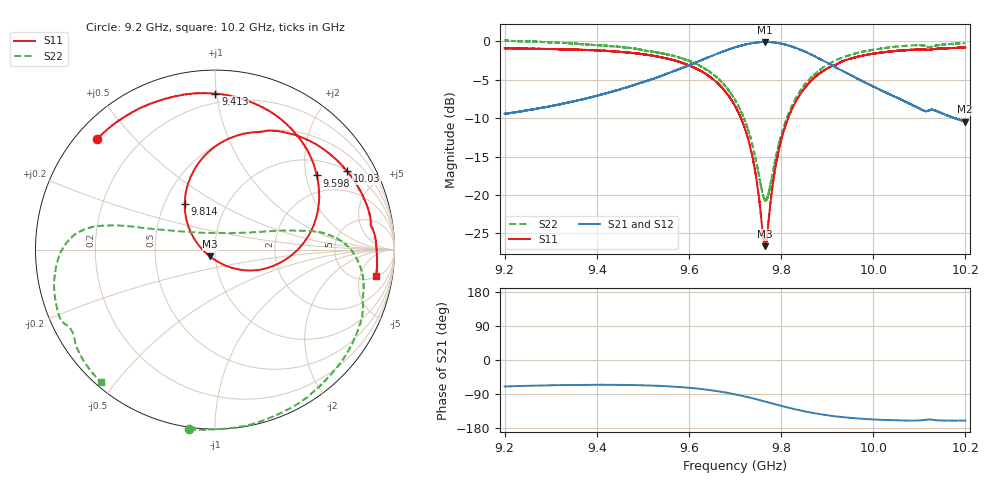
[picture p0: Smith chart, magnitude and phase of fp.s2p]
!Agilent Technologies,N5242A,MY51221714,A.09.90.19
!Agilent N5242A: A.09.90.19
!Date: Tuesday, March 26, 2024 15:47:44
!Correction: S11(Full 2 Port(1,2))
!S21(Full 2 Port(1,2))
!S12(Full 2 Port(1,2))
!S22(Full 2 Port(1,2))
!S2P File: Measurements: S11, S21, S12, S22:
# Hz S  dB  R 50
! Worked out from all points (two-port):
!   16001 points, 9.2 GHz to 10.2 GHz, reference 50 ohm
!   highest |S21| = -0.07 dB at 9.765 GHz (marker M1); lowest = -10.5 dB at 10.2 GHz (marker M2)
!   |S21| within 3 dB of the highest: 9.601743 GHz to 9.601758 GHz (14.26 kHz wide, 0.000149 % of centre); 9.602 GHz to 9.909 GHz (307.4 MHz wide, 3.15 % of centre)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
!   lowest |S11| = -26.7 dB at 9.765 GHz (marker M3), VSWR 1.10, Z = 47.3 - j3.63 ohm
!   |S11| at or under -10 dB: 9.713 GHz to 9.815 GHz (102.3 MHz wide, 1.05 % of centre)
!   |S22| runs from -20.8 to 0.1 dB; largest |S21 - S12| = 0.012
!   S11 on the Smith chart (normalised r, x): 9.2 GHz: 0.06, +0.39; 9.413 GHz: 0.14, +0.99; 9.598 GHz: 1.42, +2.31; 9.814 GHz: 0.63, +0.36; 10.03 GHz: 1.03, +3.35; 10.2 GHz: 5, -9
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9.2e9  -0.91 137.1  -9.43 -69.9  -9.41 -70.5  0.09 -98.1
9.278562e9  -0.99 120.4  -8.68 -67.3  -8.67 -68.0  -0.07 -76.3
9.366688e9  -1.11 100.7  -7.59 -65.7  -7.58 -66.3  -0.38 -52.5
9.412625e9  -1.22 89.8  -6.89 -65.3  -6.87 -66.0  -0.54 -40.5
9.4715e9  -1.49 74.7  -5.88 -65.9  -5.88 -66.5  -0.88 -26.1
9.533375e9  -2.02 57.1  -4.64 -68.2  -4.64 -68.7  -1.46 -11.7
9.597625e9  -3.07 36.0  -3.18 -73.1  -3.17 -73.7  -2.49 0.5
9.651312e9  -4.88 14.4  -1.86 -80.4  -1.87 -80.9  -4.26 8.6
9.7e9  -8.41 -10.3  -0.79 -90.6  -0.78 -91.2  -7.62 15.0
9.735938e9  -14.49 -37.1  -0.27 -100.5  -0.25 -101.0  -13.05 25.5
9.76475e9  -26.65 -124.6  -0.10 -109.4  -0.08 -110.1  -20.65 82.4
9.764875e9  -26.43 -126.2  -0.07 -109.5  -0.09 -110.1  -20.58 83.0
9.772938e9  -23.28 -178.8  -0.09 -112.1  -0.08 -112.6  -19.84 114.6
9.789938e9  -15.64 144.4  -0.19 -117.6  -0.20 -118.2  -14.67 147.6
9.813625e9  -10.26 123.4  -0.50 -125.1  -0.51 -125.5  -9.80 159.8
9.866688e9  -5.06 92.0  -1.76 -139.3  -1.77 -139.8  -4.62 166.7
9.937688e9  -2.50 61.6  -3.98 -151.2  -3.98 -151.7  -2.01 174.4
1.003338e10  -1.36 30.9  -6.84 -158.5  -6.83 -159.1  -0.80 -169.3
1.003425e10  -1.35 30.7  -6.86 -158.5  -6.87 -159.1  -0.80 -169.1
1.010231e10  -1.08 12.7  -8.81 -159.5  -8.82 -160.0  -0.51 -155.5
1.019981e10  -0.82 -9.0  -10.47 -159.9  -10.45 -160.4  -0.24 -131.0
1.02e10  -0.81 -9.2  -10.47 -159.9  -10.46 -160.4  -0.24 -130.9
